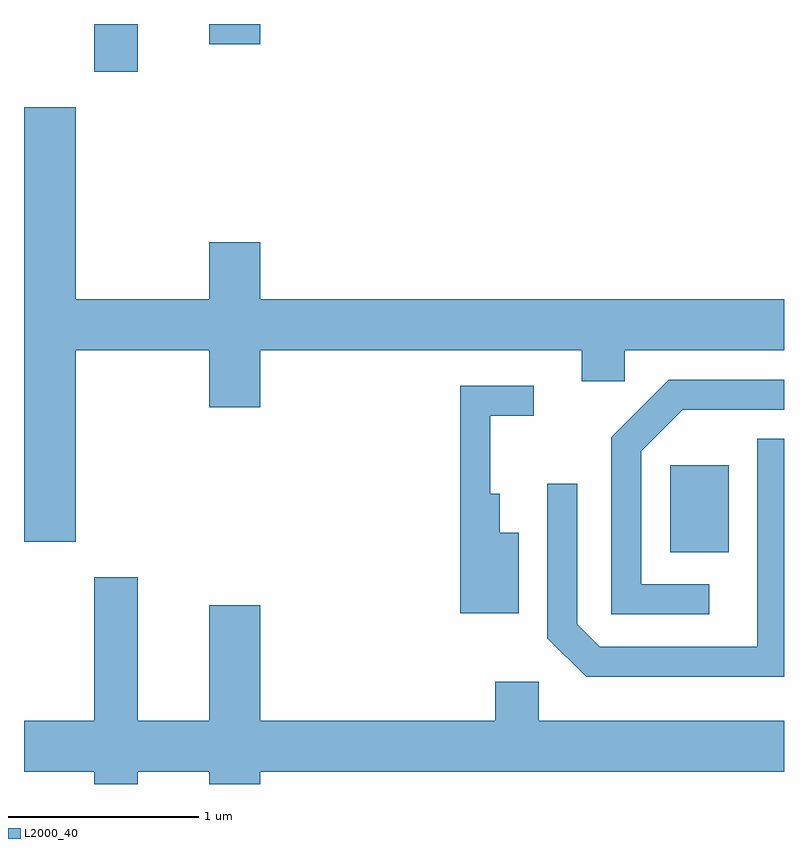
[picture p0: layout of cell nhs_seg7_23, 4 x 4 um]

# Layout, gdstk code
import gdstk
lib = gdstk.Library(unit=1e-6, precision=1e-09)
def R(c, l, rs):  # rectangles x0, y0, x1, y1
    for r in rs: c.add(gdstk.rectangle(r[:2], r[2:], *l))
def P(c, l, *ps):  # polygons
    for p in ps: c.add(gdstk.Polygon(p, *l))
L2000_40 = (2000, 40)

nhs_seg7_23 = lib.new_cell('nhs_seg7_23')
R(nhs_seg7_23, L2000_40, [(189.011,1715.471,189.319,1715.929), (185.981,1718.001,186.209,1718.252), (186.586,1718.146,186.854,1718.252)])
P(nhs_seg7_23, L2000_40, [(185.884,1716.536),(186.586,1716.536),(186.586,1716.236),(186.854,1716.236),(186.854,1716.536),(188.546,1716.536),(188.546,1716.371),(188.774,1716.371),(188.774,1716.536),(189.611,1716.536),(189.611,1716.804),(186.854,1716.804),(186.854,1717.104),(186.586,1717.104),(186.586,1716.804),(185.884,1716.804),(185.884,1717.814),(185.611,1717.814),(185.611,1715.526),(185.884,1715.526)],
  [(189.218,1715.304),(188.859,1715.304),(188.859,1716.004),(189.077,1716.221),(189.611,1716.221),(189.611,1716.379),(189.004,1716.379),(188.701,1716.077),(188.701,1715.146),(189.218,1715.146)],
  [(188.214,1715.574),(188.114,1715.574),(188.114,1715.779),(188.064,1715.779),(188.064,1716.191),(188.293,1716.191),(188.293,1716.349),(187.906,1716.349),(187.906,1715.151),(188.214,1715.151)],
  [(189.611,1716.069),(189.471,1716.069),(189.471,1714.974),(188.642,1714.974),(188.524,1715.092),(188.524,1715.833),(188.366,1715.833),(188.366,1715.019),(188.569,1714.816),(189.611,1714.816)],
  [(186.209,1714.316),(186.586,1714.316),(186.586,1714.252),(186.854,1714.252),(186.854,1714.316),(189.611,1714.316),(189.611,1714.584),(188.319,1714.584),(188.319,1714.789),(188.091,1714.789),(188.091,1714.584),(186.854,1714.584),(186.854,1715.194),(186.586,1715.194),(186.586,1714.584),(186.209,1714.584),(186.209,1715.339),(185.981,1715.339),(185.981,1714.584),(185.611,1714.584),(185.611,1714.316),(185.981,1714.316),(185.981,1714.252),(186.209,1714.252)])

lib.write_gds('nhs_seg7_23.gds')
